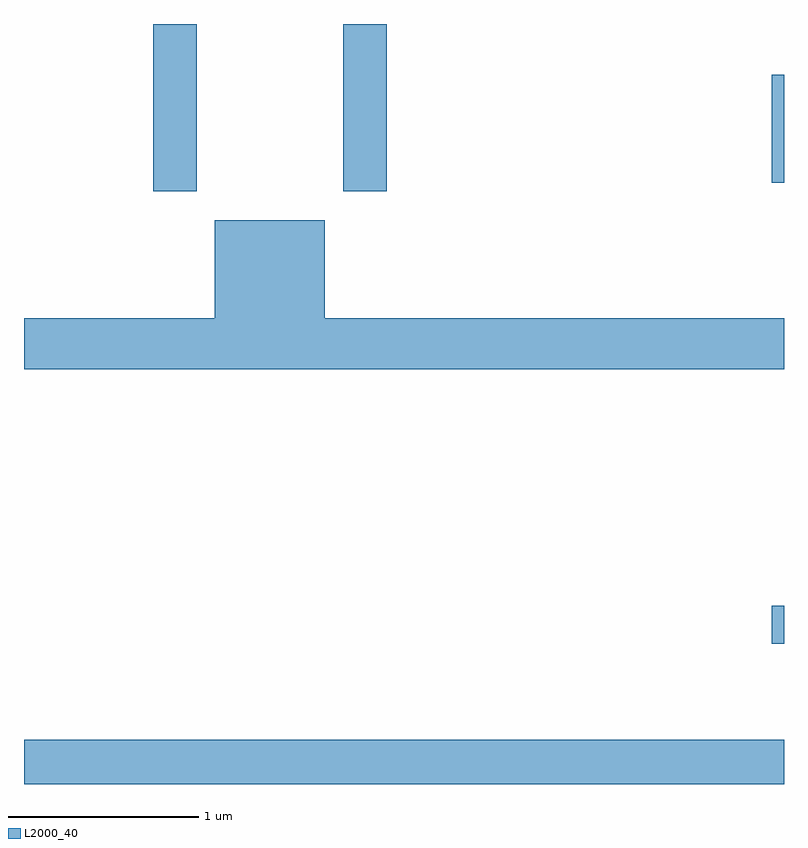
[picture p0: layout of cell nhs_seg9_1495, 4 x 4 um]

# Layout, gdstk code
import gdstk
lib = gdstk.Library(unit=1e-6, precision=1e-09)
def R(c, l, rs):  # rectangles x0, y0, x1, y1
    for r in rs: c.add(gdstk.rectangle(r[:2], r[2:], *l))
def P(c, l, *ps):  # polygons
    for p in ps: c.add(gdstk.Polygon(p, *l))
L2000_40 = (2000, 40)

nhs_seg9_1495 = lib.new_cell('nhs_seg9_1495')
R(nhs_seg9_1495, L2000_40, [(227.611,2078.432,231.611,2078.664), (231.546,2079.171,231.611,2079.369), (228.291,2081.551,228.519,2082.432), (229.291,2081.551,229.519,2082.432), (231.546,2081.596,231.611,2082.164)])
P(nhs_seg9_1495, L2000_40, [(231.611,2080.884),(229.194,2080.884),(229.194,2081.399),(228.616,2081.399),(228.616,2080.884),(227.611,2080.884),(227.611,2080.616),(231.611,2080.616)])

lib.write_gds('nhs_seg9_1495.gds')
